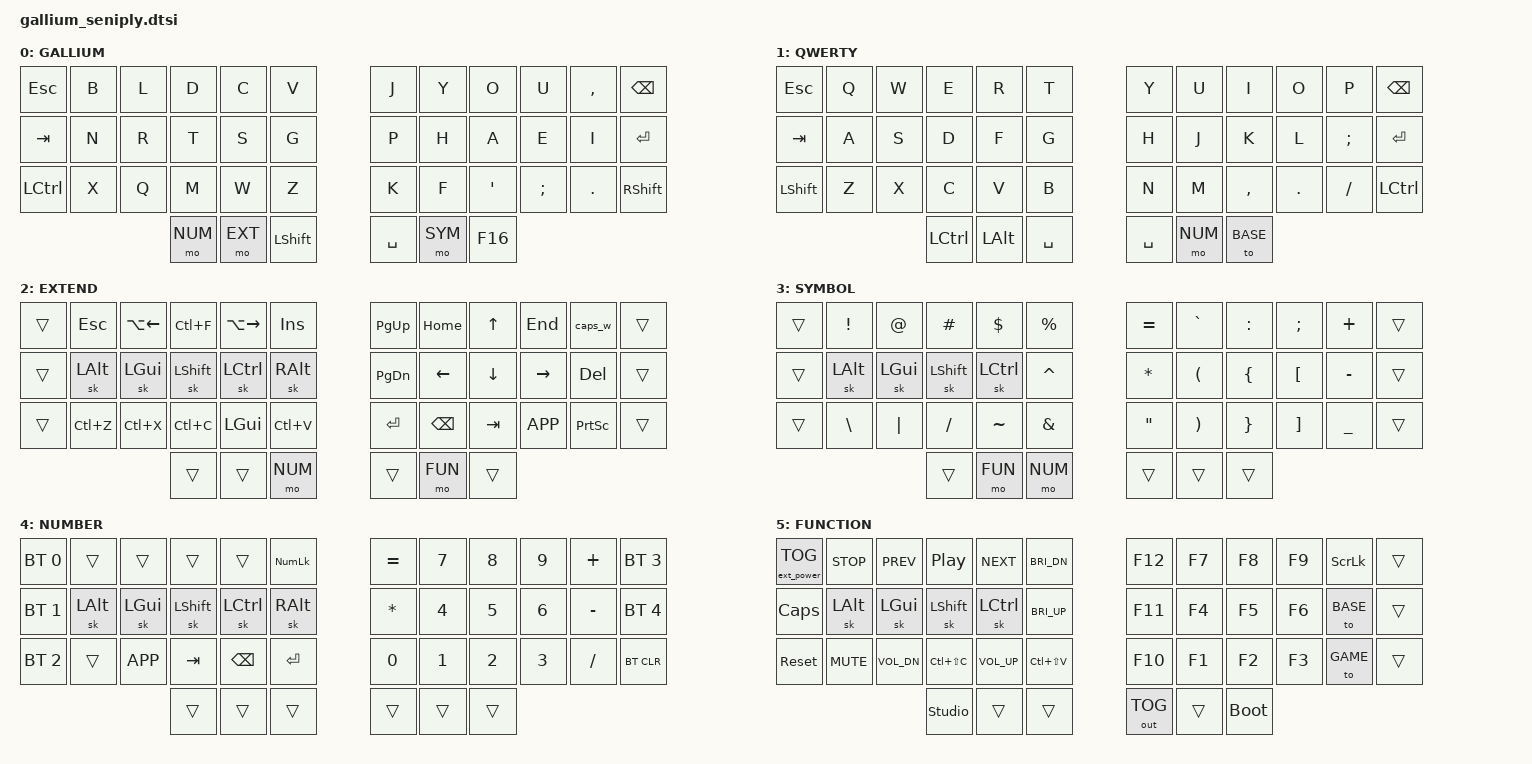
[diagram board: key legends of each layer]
/*
 * Gallium + Seniply  —  42-key (Piantor Pro BT, 6-column)
 *
 * 字母层：Gallium colstag
 * 层系统：Seniply（stevep99），按其 KMonad 参考实现逐键移植
 *   - 无 home row mods / 无 mod-tap，全部由拇指切层
 *   - 修饰键为 sticky（一次性），也可长按与导航键组合
 *
 * 这个文件只包含 behaviors + keymap 节点，不含任何板级内容，
 * 所以将来做 dongle 时可以被 dongle 的 .keymap 原样 #include。
 *
 * 键位编号（Piantor 42 键，阅读顺序）:
 *    0  1  2  3  4  5      6  7  8  9 10 11
 *   12 13 14 15 16 17     18 19 20 21 22 23
 *   24 25 26 27 28 29     30 31 32 33 34 35
 *            36 37 38     39 40 41
 *   0/12/24 与 11/23/35 是外侧小指列（36 键版没有这一列）
 */

// 注意：层索引由 keymap 里节点的出现顺序决定，不是由这些数字决定。
// 两者必须一致，且 GAME 必须排在其它层之前，否则在 GAME 里按 SYM/NUM 会被 GAME 自己盖住。
#define BASE 0
#define GAME 1
#define EXT  2
#define SYM  3
#define NUM  4
#define FUN  5

// Override ZMK's built-in sticky-key behavior from <behaviors.dtsi>.
// Do not define another `sk:` node label: node labels must be unique.
&sk {
    release-after-ms = <1500>;
    ignore-modifiers;
};

/ {
    behaviors {
        // Seniply 用 1500ms 的 sticky。不加 quick-release：
        // 这样长按修饰键 + 鼠标点击/拖拽时修饰键会一直保持。
        // 点一下，接下来这个词自动大写，遇到空格自动关闭。
        // 字母和数字自动延续；加了 MINUS 以支持 KEBAB-CASE。
        // 数字不受 Shift 影响，所以 RETRY_2 里的 2 还是 2。
        caps_w: caps_word_code {
            compatible = "zmk,behavior-caps-word";
            display-name = "Caps Word";
            #binding-cells = <0>;
            continue-list = <UNDERSCORE MINUS BACKSPACE DELETE>;
        };

    };

    keymap {
        compatible = "zmk,keymap";

        base_layer {
            display-name = "GALLIUM";
            // ┌─────┬───┬───┬───┬───┬───┐   ┌───┬───┬───┬───┬───┬─────┐
            // │ ESC │ B │ L │ D │ C │ V │   │ J │ Y │ O │ U │ , │BSPC │
            // │ TAB │ N │ R │ T │ S │ G │   │ P │ H │ A │ E │ I │ RET │
            // │CTRL │ X │ Q │ M │ W │ Z │   │ K │ F │ ' │ ; │ . │SHIFT│
            // └─────┴───┴───┴───┴───┴───┘   └───┴───┴───┴───┴───┴─────┘
            //              NUM  EXT  SHIFT   SPC  SYM  F16
            bindings = <
&kp ESC    &kp B  &kp L  &kp D  &kp C  &kp V      &kp J  &kp Y  &kp O     &kp U     &kp COMMA  &kp BSPC
&kp TAB    &kp N  &kp R  &kp T  &kp S  &kp G      &kp P  &kp H  &kp A     &kp E     &kp I      &kp RET
&kp LCTRL  &kp X  &kp Q  &kp M  &kp W  &kp Z      &kp K  &kp F  &kp SQT   &kp SEMI  &kp DOT    &kp RSHFT
                      &mo NUM  &mo EXT  &kp LSHFT      &kp SPACE  &mo SYM  &kp F16
            >;
        };

        game_layer {
            display-name = "QWERTY";
            // 游戏 / 借别人电脑 / 用别人快捷键时用。从 FUN 层右下角进，
            // 右外拇指键退回 Gallium。拇指恢复成常规 Ctrl / Alt / 空格。
            bindings = <
&kp ESC    &kp Q  &kp W  &kp E  &kp R  &kp T      &kp Y  &kp U  &kp I      &kp O    &kp P     &kp BSPC
&kp TAB    &kp A  &kp S  &kp D  &kp F  &kp G      &kp H  &kp J  &kp K      &kp L    &kp SEMI  &kp RET
&kp LSHFT  &kp Z  &kp X  &kp C  &kp V  &kp B      &kp N  &kp M  &kp COMMA  &kp DOT  &kp FSLH  &kp LCTRL
                      &kp LCTRL  &kp LALT  &kp SPACE      &kp SPACE  &mo NUM  &to BASE
            >;
        };

        extend_layer {
            display-name = "EXTEND";
            // 左手主行 = sticky 修饰键（Alt / Win / Shift / Ctrl / AltGr）
            // 右手 = 导航；Backspace 落在右食指，Delete 落在右小指主行
            // 例：Ctrl+A = EXT + t(Ctrl位) + a ;  Alt+Tab = EXT + n(Alt位) + ,位
            bindings = <
&trans  &kp ESC     &kp LA(LEFT)  &kp LC(F)    &kp LA(RIGHT)  &kp INS        &kp PG_UP  &kp HOME   &kp UP    &kp END    &caps_w    &trans
&trans  &sk LALT    &sk LGUI      &sk LSHFT    &sk LCTRL      &sk RALT       &kp PG_DN  &kp LEFT   &kp DOWN  &kp RIGHT  &kp DEL    &trans
&trans  &kp LC(Z)   &kp LC(X)     &kp LC(C)    &kp LGUI       &kp LC(V)      &kp RET    &kp BSPC   &kp TAB   &kp K_APP  &kp PSCRN  &trans
                                  &trans  &trans  &mo NUM          &trans  &mo FUN  &trans
            >;
        };

        symbol_layer {
            display-name = "SYMBOL";
            // US 排布。左手主行同样是 sticky 修饰键，方便 Ctrl+= 这类组合。
            // 括号按手指分配：( ) 都在食指，{ } 都在中指，[ ] 都在无名指。
            // 主行放的是左括号 —— IDE 会自动补右括号，左括号用得更多。
            bindings = <
&trans  &kp EXCL   &kp AT     &kp HASH   &kp DLLR   &kp PRCNT      &kp EQUAL  &kp GRAVE  &kp COLON  &kp SEMI   &kp PLUS   &trans
&trans  &sk LALT   &sk LGUI   &sk LSHFT  &sk LCTRL  &kp CARET      &kp ASTRK  &kp LPAR   &kp LBRC   &kp LBKT   &kp MINUS  &trans
&trans  &kp BSLH   &kp PIPE   &kp FSLH   &kp TILDE  &kp AMPS       &kp DQT    &kp RPAR   &kp RBRC   &kp RBKT   &kp UNDER  &trans
                                  &trans  &mo FUN  &mo NUM         &trans  &trans  &trans
            >;
        };

        number_layer {
            display-name = "NUMBER";
            // 右手小键盘式排布；左手主行仍是修饰键（Ctrl+4 这类）
            // 外侧列在本层是蓝牙配置位，需要按住 NUM 才能碰到
            bindings = <
&bt BT_SEL 0  &trans     &trans     &trans     &trans     &kp KP_NUM     &kp EQUAL  &kp N7  &kp N8  &kp N9  &kp PLUS   &bt BT_SEL 3
&bt BT_SEL 1  &sk LALT   &sk LGUI   &sk LSHFT  &sk LCTRL  &sk RALT       &kp ASTRK  &kp N4  &kp N5  &kp N6  &kp MINUS  &bt BT_SEL 4
&bt BT_SEL 2  &trans     &kp K_APP  &kp TAB    &kp BSPC   &kp RET        &kp N0     &kp N1  &kp N2  &kp N3  &kp FSLH   &bt BT_CLR
                                    &trans  &trans  &trans         &trans  &trans  &trans
            >;
        };

        function_layer {
            display-name = "FUNCTION";
            // 由 EXT + SYM 两个拇指键同时按住进入（Seniply 原设计）
            // 右手 F 键按小键盘方位排列：F1-F3 底排，F4-F6 主行，F7-F9 顶排
            bindings = <
&ext_power EP_TOG  &kp C_STOP  &kp C_PREV     &kp C_PP       &kp C_NEXT   &kp C_BRI_DN      &kp F12  &kp F7  &kp F8  &kp F9  &kp SLCK   &trans
&kp CAPS           &sk LALT    &sk LGUI       &sk LSHFT      &sk LCTRL    &kp C_BRI_UP      &kp F11  &kp F4  &kp F5  &kp F6  &to BASE   &trans
&sys_reset         &kp C_MUTE  &kp C_VOL_DN   &kp LC(LS(C))  &kp C_VOL_UP &kp LC(LS(V))     &kp F10  &kp F1  &kp F2  &kp F3  &to GAME   &trans
                                   &studio_unlock  &trans  &trans       &out OUT_TOG  &trans  &bootloader
            >;
        };
    };
};
